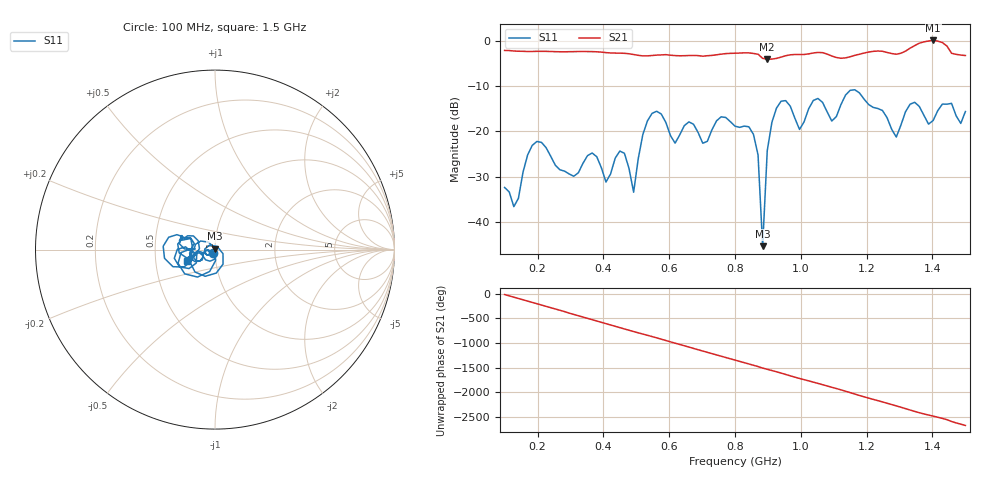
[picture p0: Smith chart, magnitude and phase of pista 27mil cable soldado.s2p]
! NanoVNA-App
! Date: 2024-11-06 19:37:12
! Start: 100MHz Stop: 1.5GHz Points: 101
! S-Parameter data: F S11 S21 S12 S22
# Hz S RI R 50
!  Frequency  S11_Real  S11_Imag  S21_Real  S21_Imag  S12_Real  S12_Imag  S22_Real  S22_Imag
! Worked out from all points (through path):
!   101 points, 100 MHz to 1.5 GHz, reference 50 ohm
!   highest |S21| = 0.13 dB at 1.402 GHz (marker M1); lowest = -4.0 dB at 898 MHz (marker M2)
!   lowest |S11| = -45.4 dB at 884 MHz (marker M3), VSWR 1.01, Z = 50 + j0.536 ohm
!   |S11| at or under -10 dB: start of sweep to end of sweep
!   S12 and S22 are empty: the file has one direction only
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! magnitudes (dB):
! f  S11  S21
! 100 MHz  -32.4  -2.1
! 128 MHz  -36.6  -2.2
! 198 MHz  -22.2  -2.3
! 338 MHz  -27.1  -2.3
! 464 MHz  -24.8  -2.7
! 492 MHz  -33.4  -3.0
! 534 MHz  -17.7  -3.3
! 576 MHz  -16.2  -3.1
! 618 MHz  -22.6  -3.2
! 800 MHz  -18.8  -2.7
! 856 MHz  -20.6  -2.7
! 870 MHz  -25.2  -2.9
! 884 MHz  -45.4  -3.8
! 898 MHz  -24.2  -4.0
! 940 MHz  -13.3  -3.5
! 996 MHz  -19.6  -3.0
! 1.038 GHz  -13.1  -2.6
! 1.094 GHz  -17.7  -3.3
! 1.164 GHz  -10.8  -3.2
! 1.276 GHz  -19.5  -2.8
! 1.402 GHz  -17.6  0.1
! 1.5 GHz  -15.6  -3.2
